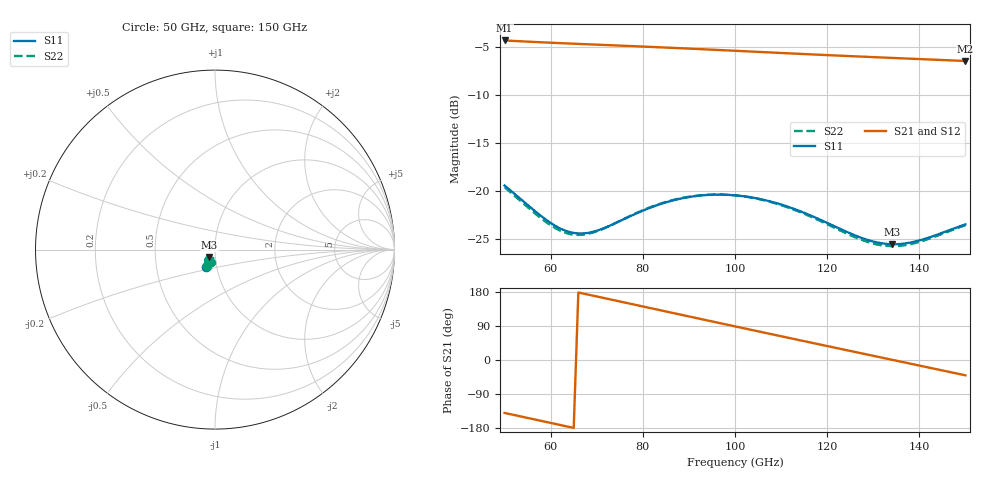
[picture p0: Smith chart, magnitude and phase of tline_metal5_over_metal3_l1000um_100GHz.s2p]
#  GHZ S DB R 50
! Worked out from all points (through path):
!   101 points, 50 GHz to 150 GHz, reference 50 ohm
!   highest |S21| = -4.33 dB at 50 GHz (marker M1); lowest = -6.5 dB at 150 GHz (marker M2)
!   group delay of S21, straight-line fit = 7.25 ps
!   lowest |S11| = -25.5 dB at 134 GHz (marker M3), VSWR 1.11, Z = 46.8 - j4.02 ohm
!   |S11| at or under -10 dB: start of sweep to end of sweep
!   |S22| runs from -25.7 to -19.6 dB; largest |S21 - S12| = 8.9e-14
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50  -19.44 -116.8  -4.33 -139.7  -4.33 -139.7  -19.61 -116.5
56  -21.86 -118.3  -4.48 -155.5  -4.48 -155.5  -22.09 -117.5
61  -23.63 -113.1  -4.59 -168.7  -4.59 -168.7  -23.87 -111.5
64  -24.26 -107.3  -4.65 -176.6  -4.65 -176.6  -24.46 -105.3
67  -24.42 -101.0  -4.71 175.5  -4.71 175.5  -24.55 -98.7
70  -24.14 -95.7  -4.77 167.6  -4.77 167.6  -24.20 -93.4
75  -23.13 -91.3  -4.87 154.5  -4.87 154.5  -23.12 -89.4
79  -22.25 -91.7  -4.95 143.9  -4.95 143.9  -22.21 -90.1
84  -21.33 -95.4  -5.05 130.7  -5.05 130.7  -21.29 -94.2
88  -20.81 -100.0  -5.14 120.2  -5.14 120.2  -20.78 -99.0
92  -20.50 -105.3  -5.23 109.7  -5.23 109.7  -20.47 -104.5
96  -20.38 -111.1  -5.32 99.2  -5.32 99.2  -20.37 -110.4
100  -20.45 -116.9  -5.41 88.7  -5.41 88.7  -20.46 -116.3
108  -21.13 -127.5  -5.59 67.9  -5.59 67.9  -21.18 -127.1
117  -22.67 -135.5  -5.79 44.6  -5.79 44.6  -22.79 -135.2
122  -23.76 -136.6  -5.90 31.7  -5.90 31.7  -23.92 -136.2
126  -24.61 -135.0  -5.99 21.4  -5.99 21.4  -24.80 -134.4
130  -25.26 -131.3  -6.07 11.1  -6.07 11.1  -25.47 -130.3
134  -25.54 -126.0  -6.15 0.8  -6.15 0.8  -25.74 -124.8
138  -25.37 -120.8  -6.23 -9.5  -6.23 -9.5  -25.55 -119.3
142  -24.86 -117.0  -6.31 -19.8  -6.31 -19.8  -24.99 -115.5
150  -23.48 -115.7  -6.47 -40.4  -6.47 -40.4  -23.56 -114.4
